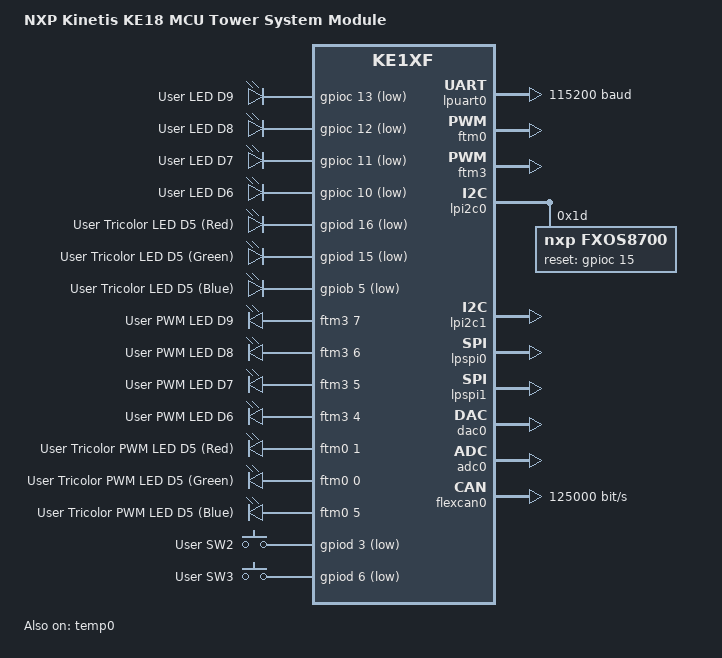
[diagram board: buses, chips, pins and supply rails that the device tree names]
/*
 * Copyright (c) 2019-2021 Vestas Wind Systems A/S
 *
 * SPDX-License-Identifier: Apache-2.0
 */

/dts-v1/;

#include <nxp/MKE18F512VLL16.dtsi>
#include <dt-bindings/clock/kinetis_scg.h>
#include <dt-bindings/pwm/pwm.h>

/ {
	model = "NXP Kinetis KE18 MCU Tower System Module";
	compatible = "nxp,mke18f16", "nxp,ke18f", "nxp,ke1xf";

	aliases {
		led0 = &orange_led;
		led1 = &yellow_led;
		led2 = &green_led;
		led3 = &red_led;
		led4 = &tri_red_led;
		led5 = &tri_green_led;
		led6 = &tri_blue_led;
		pwm-led0 = &orange_pwm_led;
		pwm-led1 = &yellow_pwm_led;
		pwm-led2 = &green_pwm_led;
		pwm-led3 = &red_pwm_led;
		red-pwm-led = &tri_red_pwm_led;
		green-pwm-led = &tri_green_pwm_led;
		blue-pwm-led = &tri_blue_pwm_led;
		sw0 = &user_button_3;
		sw1 = &user_button_2;
	};

	chosen {
		zephyr,sram = &sram0;
		zephyr,flash = &flash0;
		zephyr,code-partition = &slot0_partition;
		zephyr,console = &lpuart0;
		zephyr,shell-uart = &lpuart0;
		zephyr,uart-pipe = &lpuart0;
		zephyr,canbus = &flexcan0;
	};

	leds {
		compatible = "gpio-leds";
		orange_led: led_0 {
			gpios = <&gpioc 13 GPIO_ACTIVE_LOW>;
			label = "User LED D9";
		};
		yellow_led: led_1 {
			gpios = <&gpioc 12 GPIO_ACTIVE_LOW>;
			label = "User LED D8";
		};
		green_led: led_2 {
			gpios = <&gpioc 11 GPIO_ACTIVE_LOW>;
			label = "User LED D7";
		};
		red_led: led_3 {
			gpios = <&gpioc 10 GPIO_ACTIVE_LOW>;
			label = "User LED D6";
		};

		tri_red_led: led_4 {
			gpios = <&gpiod 16 GPIO_ACTIVE_LOW>;
			label = "User Tricolor LED D5 (Red)";
		};
		tri_green_led: led_5 {
			gpios = <&gpiod 15 GPIO_ACTIVE_LOW>;
			label = "User Tricolor LED D5 (Green)";
		};
		tri_blue_led: led_6 {
			gpios = <&gpiob 5 GPIO_ACTIVE_LOW>;
			label = "User Tricolor LED D5 (Blue)";
		};
	};

	pwmleds {
		compatible = "pwm-leds";
		orange_pwm_led: led_pwm_0 {
			pwms = <&ftm3 7 60000 PWM_POLARITY_INVERTED>;
			label = "User PWM LED D9";
		};
		yellow_pwm_led: led_pwm_1 {
			pwms = <&ftm3 6 60000 PWM_POLARITY_INVERTED>;
			label = "User PWM LED D8";
		};
		green_pwm_led: led_pwm_2 {
			pwms = <&ftm3 5 60000 PWM_POLARITY_INVERTED>;
			label = "User PWM LED D7";
		};
		red_pwm_led: led_pwm_3 {
			pwms = <&ftm3 4 60000 PWM_POLARITY_INVERTED>;
			label = "User PWM LED D6";
		};

		tri_red_pwm_led: led_pwm_4 {
			pwms = <&ftm0 1 60000 PWM_POLARITY_INVERTED>;
			label = "User Tricolor PWM LED D5 (Red)";
		};
		tri_green_pwm_led: led_pwm_5 {
			pwms = <&ftm0 0 60000 PWM_POLARITY_INVERTED>;
			label = "User Tricolor PWM LED D5 (Green)";
		};
		tri_blue_pwm_led: led_pwm_6 {
			pwms = <&ftm0 5 60000 PWM_POLARITY_INVERTED>;
			label = "User Tricolor PWM LED D5 (Blue)";
		};
	};

	gpio_keys {
		compatible = "gpio-keys";
		user_button_2: button_0 {
			label = "User SW2";
			gpios = <&gpiod 3 GPIO_ACTIVE_LOW>;
		};
		user_button_3: button_1 {
			label = "User SW3";
			gpios = <&gpiod 6 GPIO_ACTIVE_LOW>;
		};
	};
};

&cpu0 {
	clock-frequency = <120000000>;
	cpu-power-states = <&idle &stop>;
};

&idle {
	min-residency-us = <1>;
};

&stop {
	min-residency-us = <20000>;
	exit-latency-us = <13>;
};

&sim {
	clkout-source = <1>;
	clkout-divider = <0>;
	pinctrl-0 = <&CLKOUT_PTE10>;
	pinctrl-names = "default";
};

&scg {
	sosc-mode = <KINETIS_SCG_SOSC_MODE_LOW_POWER>;

	sosc_clk {
		status = "okay";
		clock-frequency = <8000000>;
	};

	pll {
		clock-mult = <30>;
	};

	core_clk {
		clocks = <&spll_clk>;
	};

	bus_clk {
		clock-div = <2>;
	};

	slow_clk {
		clock-div = <5>;
	};

	clkout_clk {
		status = "okay";
	};

	splldiv1_clk {
		clock-div = <1>;
	};

	splldiv2_clk {
		clock-div = <2>;
	};

	sircdiv1_clk {
		clock-div = <1>;
	};

	sircdiv2_clk {
		clock-div = <2>;
	};

	fircdiv1_clk {
		clock-div = <1>;
	};

	fircdiv2_clk {
		clock-div = <1>;
	};

	soscdiv1_clk {
		clock-div = <1>;
	};

	soscdiv2_clk {
		clock-div = <1>;
	};
};

&lpuart0 {
	status = "okay";
	current-speed = <115200>;
	pinctrl-0 = <&LPUART0_RX_PTB0 &LPUART0_TX_PTB1>;
	pinctrl-names = "default";
};

&ftm0 {
	status = "okay";
	compatible = "nxp,kinetis-ftm-pwm";
	#pwm-cells = <3>;
	pinctrl-0 = <&FTM0_CH0_PTD15 &FTM0_CH1_PTD16 &FTM0_CH5_PTB5>;
	pinctrl-names = "default";
};

&ftm3 {
	status = "okay";
	compatible = "nxp,kinetis-ftm-pwm";
	#pwm-cells = <3>;
	pinctrl-0 = <&FTM3_CH4_PTC10 &FTM3_CH5_PTC11
		     &FTM3_CH6_PTC12 &FTM3_CH7_PTC13>;
	pinctrl-names = "default";
};

&lpi2c0 {
	status = "okay";
	pinctrl-0 = <&LPI2C0_SDA_PTA2 &LPI2C0_SCL_PTA3>;
	pinctrl-names = "default";

	fxos8700: fxos8700@1d {
		compatible = "nxp,fxos8700";
		reg = <0x1d>;
		label = "FXOS8700";
		reset-gpios = <&gpioc 15 GPIO_ACTIVE_HIGH>;
	};
};

&lpi2c1 {
	status = "okay";
	pinctrl-0 = <&LPI2C1_SDA_PTD8 &LPI2C1_SCL_PTD9>;
	pinctrl-names = "default";
};

&lpspi0 {
	status = "okay";
	pinctrl-0 = <&LPSPI0_SCK_PTE0 &LPSPI0_SIN_PTE1
		     &LPSPI0_SOUT_PTE2 &LPSPI0_PCS2_PTE6>;
	pinctrl-names = "default";
};

&lpspi1 {
	status = "okay";
	pinctrl-0 = <&LPSPI1_SCK_PTD0 &LPSPI1_SIN_PTD1
		     &LPSPI1_SOUT_PTD2 &LPSPI1_PCS0_PTD3>;
	pinctrl-names = "default";
};

&dac0 {
	status = "okay";
	pinctrl-0 = <&DAC0_OUT_PTE9>;
	pinctrl-names = "default";
};

&adc0 {
	status = "okay";
	sample-time = <12>;
	pinctrl-0 = <&ADC0_SE0_PTA0 &ADC0_SE1_PTA1 &ADC0_SE12_PTC14>;
	pinctrl-names = "default";
};

&temp0 {
	status = "okay";
};

&flexcan0 {
	status = "okay";
	bus-speed = <125000>;
	pinctrl-0 = <&CAN0_RX_PTE4 &CAN0_TX_PTE5>;
	pinctrl-names = "default";
};

&gpioa {
	status = "okay";
};

&gpiob {
	status = "okay";
};

&gpioc {
	status = "okay";
};

&gpiod {
	status = "okay";
};

&gpioe {
	status = "okay";
};

&edma {
	status = "okay";
};

&flash0 {

	partitions {
		compatible = "fixed-partitions";
		#address-cells = <1>;
		#size-cells = <1>;

		boot_partition: partition@0 {
			label = "mcuboot";
			reg = <0x00000000 0xc000>;
		};
		slot0_partition: partition@c000 {
			label = "image-0";
			reg = <0x0000c000 0x32000>;
		};
		slot1_partition: partition@3e000 {
			label = "image-1";
			reg = <0x0003e000 0x32000>;
		};
		scratch_partition: partition@70000 {
			label = "image-scratch";
			reg = <0x00070000 0xa000>;
		};
		storage_partition: partition@7a000 {
			label = "storage";
			reg = <0x0007a000 0x00006000>;
		};
	};
};
